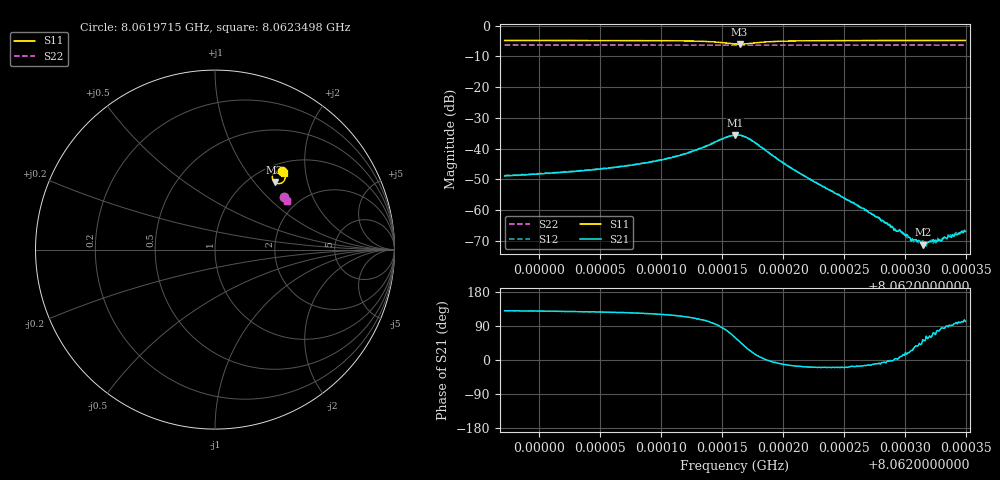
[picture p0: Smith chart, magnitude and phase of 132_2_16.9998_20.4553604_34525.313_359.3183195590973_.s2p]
#  HZ  S  RI  R  50.00
! Rohde & Schwarz Vector Network Analyzer
! Rohde-Schwarz,ZNB20-2Port,1311601062101988,3.16
! Created: UTC 3/20/2024, 10:57:59 PM
! freq[Hz]  re:S11  im:S11  re:S21  im:S21  re:S12  im:S12  re:S22  im:S22
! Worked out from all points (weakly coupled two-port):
!   401 points, 8.0619715 GHz to 8.0623498 GHz, reference 50 ohm
!   highest |S21| = -35.58 dB at 8.0621606 GHz (marker M1); lowest = -71.2 dB at 8.0623148 GHz (marker M2)
!   lowest |S11| = -6.0 dB at 8.0621644 GHz (marker M3), VSWR 3.01, Z = 63.6 + j64 ohm
!   |S11| at or under -10 dB: nowhere
!   |S22| runs from -6.4 to -6.3 dB; largest |S21 - S12| = 0.0012
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8.06197146e9  0.3746 0.4372  -0.00231 0.00276  -0.00216 0.00295  0.3866 0.2906
8.06203484e9  0.3805 0.4313  -0.00267 0.00348  -0.00248 0.00364  0.3888 0.2874
8.06206889e9  0.3842 0.4265  -0.00297 0.00422  -0.00272 0.00445  0.3898 0.2857
8.06209821e9  0.3881 0.4194  -0.00328 0.00556  -0.00301 0.00581  0.391 0.2839
8.06212091e9  0.3912 0.4087  -0.0034 0.00768  -0.00294 0.008  0.3917 0.2824
8.06214456e9  0.3847 0.3831  -0.00103 0.0128  -0.000104 0.013  0.3918 0.2802
8.06216064e9  0.3444 0.3693  0.00837 0.0144  0.00938 0.0139  0.3902 0.2795
8.06216442e9  0.3317 0.3765  0.011 0.0124  0.0118 0.0117  0.39 0.2799
8.06217388e9  0.3193 0.407  0.0127 0.00529  0.0132 0.00454  0.3903 0.281
8.06220037e9  0.3485 0.4392  0.00568 -0.00117  0.00569 -0.00152  0.3929 0.2808
8.06222402e9  0.3628 0.4392  0.00288 -0.000985  0.00281 -0.00114  0.3941 0.2794
8.06225996e9  0.3729 0.4358  0.00119 -0.000363  0.00119 -0.00046  0.3957 0.2775
8.06228739e9  0.3773 0.4335  0.00059 -3.87e-05  0.000595 -2.34e-05  0.3967 0.2761
8.06229307e9  0.3781 0.433  0.000464 3.01e-05  0.000455 -3.86e-06  0.3969 0.2758
8.06230536e9  0.3796 0.432  0.000284 0.000133  0.000308 0.000112  0.3973 0.275
8.06231482e9  0.3807 0.4313  0.000164 0.000222  0.000239 0.000216  0.3976 0.2747
8.06231766e9  0.3808 0.4311  0.000127 0.000248  0.000147 0.000215  0.3977 0.2745
8.0623205e9  0.3811 0.4309  0.000139 0.000278  0.000162 0.000264  0.3977 0.2744
8.06232428e9  0.3816 0.4305  0.000103 0.000293  0.000106 0.000294  0.3977 0.2742
8.06233563e9  0.3826 0.4298  1.69e-05 0.000379  3.04e-05 0.000395  0.3983 0.2734
8.06234509e9  0.3835 0.4291  -6.39e-05 0.000424  -3.85e-05 0.000403  0.3987 0.273
8.06234982e9  0.384 0.4287  -9.14e-05 0.000441  -4.18e-05 0.000474  0.3987 0.2728
